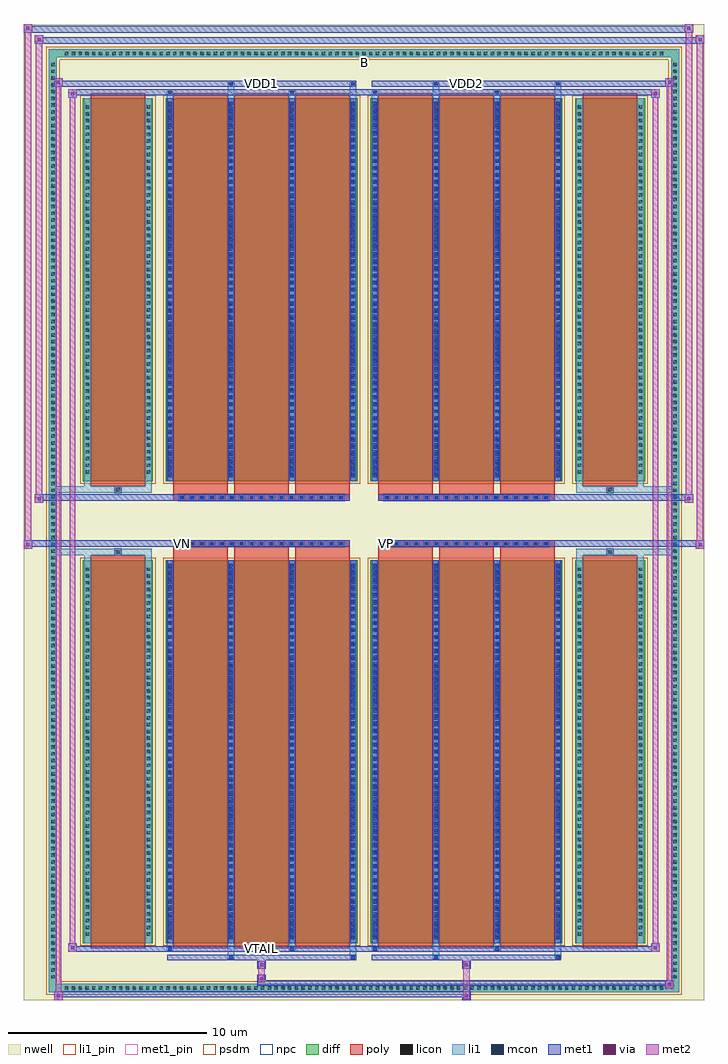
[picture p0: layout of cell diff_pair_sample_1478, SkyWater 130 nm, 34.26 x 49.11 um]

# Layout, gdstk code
import gdstk
lib = gdstk.Library(unit=1e-6, precision=5e-09)
def R(c, l, rs):  # rectangles x0, y0, x1, y1
    for r in rs: c.add(gdstk.rectangle(r[:2], r[2:], *l))
def A(c, l, x, y, w, h, nx, ny, dx, dy):  # array of equal rectangles
    R(c, l, [(x+i*dx, y+j*dy, x+i*dx+w, y+j*dy+h) for i in range(nx) for j in range(ny)])
def P(c, l, *ps):  # polygons
    for p in ps: c.add(gdstk.Polygon(p, *l))
nwell = (64, 20)
diff = (65, 20)
poly = (66, 20)
licon = (66, 44)
li1_pin = (67, 16)
li1 = (67, 20)
mcon = (67, 44)
met1_pin = (68, 16)
met1 = (68, 20)
via = (68, 44)
met2 = (69, 20)
psdm = (94, 20)
npc = (95, 20)

diff_pair_sample_1478 = lib.new_cell('diff_pair_sample_1478')
R(diff_pair_sample_1478, nwell, [(-17.13,-24.12,17.13,24.99), (-14.45,-22.31,-0.01,-0.795), (0.01,-22.31,14.45,-0.795), (-14.45,0.795,-0.01,22.31), (0.01,0.795,14.45,22.31)])
A(diff_pair_sample_1478, diff, -15.165, -23.72, 0.41, 0.41, 89, 2, 0.34, 47.03)
A(diff_pair_sample_1478, diff, -15.86, -23.155, 0.41, 0.41, 1, 136, 0, 0.34)
A(diff_pair_sample_1478, diff, 15.45, -23.155, 0.41, 0.41, 1, 136, 0, 0.34)
R(diff_pair_sample_1478, diff, [(-15.165,-23.72,15.165,-23.31), (-15.86,-23.155,-15.45,23.155), (15.45,-23.155,15.86,23.155), (-14.14,-21.265,-10.62,-1.985), (-9.98,-21.265,-0.32,-1.985), (0.32,-21.265,9.98,-1.985), (10.62,-21.265,14.14,-1.985), (-14.14,1.985,-10.62,21.265), (-9.98,1.985,-0.32,21.265), (0.32,1.985,9.98,21.265), (10.62,1.985,14.14,21.265), (-15.165,23.31,15.165,23.72)])
P(diff_pair_sample_1478, diff, [(15.86,23.72),(-15.86,23.72),(-15.86,-23.31),(-15.45,-23.31),(-15.45,23.31),(15.45,23.31),(15.45,-23.31),(-15.45,-23.31),(-15.86,-23.31),(-15.86,-23.72),(15.86,-23.72)])
A(diff_pair_sample_1478, poly, -9.59, -21.515, 2.74, 19.78, 3, 2, 3.07, 23.25)
A(diff_pair_sample_1478, poly, 0.71, -21.515, 2.74, 19.78, 3, 2, 3.07, 23.25)
A(diff_pair_sample_1478, poly, -9.59, -1.735, 2.74, 0.41, 3, 2, 3.07, 3.06)
A(diff_pair_sample_1478, poly, 0.71, -1.735, 2.74, 0.41, 3, 2, 3.07, 3.06)
A(diff_pair_sample_1478, poly, -9.315, -1.325, 0.33, 0.33, 17, 2, 0.5, 2.32)
A(diff_pair_sample_1478, poly, 0.985, -1.325, 0.33, 0.33, 17, 2, 0.5, 2.32)
R(diff_pair_sample_1478, poly, [(-13.75,-21.515,-11.01,-1.735), (11.01,-21.515,13.75,-1.735), (-12.545,-1.735,-12.215,-1.405), (-12.545,-1.735,-12.215,-1.405), (12.215,-1.735,12.545,-1.405), (12.215,-1.735,12.545,-1.405), (-9.59,-1.325,-0.71,-0.995), (0.71,-1.325,9.59,-0.995), (-9.59,0.995,-0.71,1.325), (0.71,0.995,9.59,1.325), (-12.545,1.405,-12.215,1.735), (-12.545,1.405,-12.215,1.735), (12.215,1.405,12.545,1.735), (12.215,1.405,12.545,1.735), (-13.75,1.735,-11.01,21.515), (11.01,1.735,13.75,21.515)])
A(diff_pair_sample_1478, licon, -15.045, -23.6, 0.17, 0.17, 89, 2, 0.34, 47.03)
A(diff_pair_sample_1478, licon, -15.74, -23.035, 0.17, 0.17, 1, 136, 0, 0.34)
A(diff_pair_sample_1478, licon, 15.57, -23.035, 0.17, 0.17, 1, 136, 0, 0.34)
A(diff_pair_sample_1478, licon, -14, -20.89, 0.17, 0.17, 1, 55, 0, 0.34)
A(diff_pair_sample_1478, licon, -10.93, -20.89, 0.17, 0.17, 1, 55, 0, 0.34)
A(diff_pair_sample_1478, licon, -9.84, -20.89, 0.17, 0.17, 4, 55, 3.07, 0.34)
A(diff_pair_sample_1478, licon, 0.46, -20.89, 0.17, 0.17, 4, 55, 3.07, 0.34)
A(diff_pair_sample_1478, licon, 10.76, -20.89, 0.17, 0.17, 1, 55, 0, 0.34)
A(diff_pair_sample_1478, licon, 13.83, -20.89, 0.17, 0.17, 1, 55, 0, 0.34)
A(diff_pair_sample_1478, licon, -9.235, -1.245, 0.17, 0.17, 17, 2, 0.5, 2.32)
A(diff_pair_sample_1478, licon, 1.065, -1.245, 0.17, 0.17, 17, 2, 0.5, 2.32)
A(diff_pair_sample_1478, licon, -14, 2.36, 0.17, 0.17, 1, 55, 0, 0.34)
A(diff_pair_sample_1478, licon, -10.93, 2.36, 0.17, 0.17, 1, 55, 0, 0.34)
A(diff_pair_sample_1478, licon, -9.84, 2.36, 0.17, 0.17, 4, 55, 3.07, 0.34)
A(diff_pair_sample_1478, licon, 0.46, 2.36, 0.17, 0.17, 4, 55, 3.07, 0.34)
A(diff_pair_sample_1478, licon, 10.76, 2.36, 0.17, 0.17, 1, 55, 0, 0.34)
A(diff_pair_sample_1478, licon, 13.83, 2.36, 0.17, 0.17, 1, 55, 0, 0.34)
R(diff_pair_sample_1478, licon, [(-12.465,-1.655,-12.295,-1.485), (12.295,-1.655,12.465,-1.485), (-12.465,1.485,-12.295,1.655), (12.295,1.485,12.465,1.655)])
R(diff_pair_sample_1478, li1_pin, [(-0.25,22.81,0.25,23.31)])
A(diff_pair_sample_1478, li1, -15.125, -23.68, 0.33, 0.33, 89, 2, 0.34, 47.03)
A(diff_pair_sample_1478, li1, -15.82, -23.115, 0.33, 0.33, 1, 136, 0, 0.34)
A(diff_pair_sample_1478, li1, 15.49, -23.115, 0.33, 0.33, 1, 136, 0, 0.34)
A(diff_pair_sample_1478, li1, -9.92, -21.265, 0.33, 19.28, 4, 2, 3.07, 23.25)
A(diff_pair_sample_1478, li1, 0.38, -21.265, 0.33, 19.28, 4, 2, 3.07, 23.25)
A(diff_pair_sample_1478, li1, -9.84, -21.07, 0.17, 0.17, 4, 53, 3.07, 0.36)
A(diff_pair_sample_1478, li1, -9.84, -21.07, 0.17, 18.89, 4, 2, 3.07, 23.25)
A(diff_pair_sample_1478, li1, 0.46, -21.07, 0.17, 0.17, 4, 53, 3.07, 0.36)
A(diff_pair_sample_1478, li1, 0.46, -21.07, 0.17, 18.89, 4, 2, 3.07, 23.25)
A(diff_pair_sample_1478, li1, -14.08, -20.97, 0.33, 0.33, 1, 55, 0, 0.34)
A(diff_pair_sample_1478, li1, -11.01, -20.97, 0.33, 0.33, 1, 55, 0, 0.34)
A(diff_pair_sample_1478, li1, -9.92, -20.97, 0.33, 0.33, 4, 55, 3.07, 0.34)
A(diff_pair_sample_1478, li1, 0.38, -20.97, 0.33, 0.33, 4, 55, 3.07, 0.34)
A(diff_pair_sample_1478, li1, 10.68, -20.97, 0.33, 0.33, 1, 55, 0, 0.34)
A(diff_pair_sample_1478, li1, 13.75, -20.97, 0.33, 0.33, 1, 55, 0, 0.34)
A(diff_pair_sample_1478, li1, -9.315, -1.325, 0.33, 0.33, 17, 2, 0.5, 2.32)
A(diff_pair_sample_1478, li1, 0.985, -1.325, 0.33, 0.33, 17, 2, 0.5, 2.32)
A(diff_pair_sample_1478, li1, -9.84, 2.18, 0.17, 0.17, 4, 53, 3.07, 0.36)
A(diff_pair_sample_1478, li1, 0.46, 2.18, 0.17, 0.17, 4, 53, 3.07, 0.36)
A(diff_pair_sample_1478, li1, -14.08, 2.28, 0.33, 0.33, 1, 55, 0, 0.34)
A(diff_pair_sample_1478, li1, -11.01, 2.28, 0.33, 0.33, 1, 55, 0, 0.34)
A(diff_pair_sample_1478, li1, -9.92, 2.28, 0.33, 0.33, 4, 55, 3.07, 0.34)
A(diff_pair_sample_1478, li1, 0.38, 2.28, 0.33, 0.33, 4, 55, 3.07, 0.34)
A(diff_pair_sample_1478, li1, 10.68, 2.28, 0.33, 0.33, 1, 55, 0, 0.34)
A(diff_pair_sample_1478, li1, 13.75, 2.28, 0.33, 0.33, 1, 55, 0, 0.34)
R(diff_pair_sample_1478, li1, [(-15.86,-23.72,-15.45,-23.31), (-15.86,-23.72,-15.45,-23.31), (-15.45,-23.72,15.45,-23.31), (15.45,-23.72,15.86,-23.31), (15.45,-23.72,15.86,-23.31), (-15.86,-23.31,-15.45,23.31), (15.45,-23.31,15.86,23.31), (-6.85,-22.07,-6.52,-21.265), (-6.77,-22.07,-6.6,-21.9), (-0.71,-22.07,-0.38,-21.265), (-0.63,-22.07,-0.46,-21.9), (3.45,-22.07,3.78,-21.265), (3.53,-22.07,3.7,-21.9), (9.59,-22.07,9.92,-21.265), (9.67,-22.07,9.84,-21.9), (-9.92,-21.64,-9.59,-21.265), (-9.84,-21.64,-9.67,-21.47), (-3.78,-21.64,-3.45,-21.265), (-3.7,-21.64,-3.53,-21.47), (0.38,-21.64,0.71,-21.265), (0.46,-21.64,0.63,-21.47), (6.52,-21.64,6.85,-21.265), (6.6,-21.64,6.77,-21.47), (-14.08,-21.265,-13.75,-1.985), (-11.01,-21.265,-10.68,-1.985), (10.68,-21.265,11.01,-1.985), (13.75,-21.265,14.08,-1.985), (-14.08,-1.985,-13.75,-1.405), (-11.01,-1.985,-10.68,-1.405), (10.68,-1.985,11.01,-1.405), (13.75,-1.985,14.08,-1.405), (-15.86,-1.735,-12.545,-1.405), (-14.08,-1.735,-12.545,-1.405), (-12.545,-1.735,-12.215,-1.405), (-12.215,-1.735,-10.68,-1.405), (10.68,-1.735,12.215,-1.405), (12.215,-1.735,12.545,-1.405), (12.215,-1.735,15.86,-1.405), (12.545,-1.735,14.08,-1.405), (-15.86,1.405,-12.545,1.735), (-14.08,1.405,-12.545,1.735), (-14.08,1.405,-13.75,1.985), (-12.545,1.405,-12.215,1.735), (-12.215,1.405,-10.68,1.735), (-11.01,1.405,-10.68,1.985), (10.68,1.405,12.215,1.735), (10.68,1.405,11.01,1.985), (12.215,1.405,12.545,1.735), (12.215,1.405,15.86,1.735), (12.545,1.405,14.08,1.735), (13.75,1.405,14.08,1.985), (-14.08,1.985,-13.75,21.265), (-11.01,1.985,-10.68,21.265), (10.68,1.985,11.01,21.265), (13.75,1.985,14.08,21.265), (-9.92,21.265,-9.59,21.64), (-6.85,21.265,-6.52,22.07), (-3.78,21.265,-3.45,21.64), (-0.71,21.265,-0.38,22.07), (0.38,21.265,0.71,21.64), (3.45,21.265,3.78,22.07), (6.52,21.265,6.85,21.64), (9.59,21.265,9.92,22.07), (-9.84,21.47,-9.67,21.64), (-3.7,21.47,-3.53,21.64), (0.46,21.47,0.63,21.64), (6.6,21.47,6.77,21.64), (-6.77,21.9,-6.6,22.07), (-0.63,21.9,-0.46,22.07), (3.53,21.9,3.7,22.07), (9.67,21.9,9.84,22.07), (-15.86,23.31,-15.45,23.72), (-15.86,23.31,-15.45,23.72), (-15.45,23.31,15.45,23.72), (15.45,23.31,15.86,23.72), (15.45,23.31,15.86,23.72)])
A(diff_pair_sample_1478, mcon, -9.84, -21.07, 0.17, 0.17, 4, 53, 3.07, 0.36)
A(diff_pair_sample_1478, mcon, 0.46, -21.07, 0.17, 0.17, 4, 53, 3.07, 0.36)
A(diff_pair_sample_1478, mcon, -9.235, -1.245, 0.17, 0.17, 17, 2, 0.5, 2.32)
A(diff_pair_sample_1478, mcon, 1.065, -1.245, 0.17, 0.17, 17, 2, 0.5, 2.32)
A(diff_pair_sample_1478, mcon, -9.84, 2.18, 0.17, 0.17, 4, 53, 3.07, 0.36)
A(diff_pair_sample_1478, mcon, 0.46, 2.18, 0.17, 0.17, 4, 53, 3.07, 0.36)
R(diff_pair_sample_1478, mcon, [(-6.77,-22.07,-6.6,-21.9), (-0.63,-22.07,-0.46,-21.9), (3.53,-22.07,3.7,-21.9), (9.67,-22.07,9.84,-21.9), (-9.84,-21.64,-9.67,-21.47), (-3.7,-21.64,-3.53,-21.47), (0.46,-21.64,0.63,-21.47), (6.6,-21.64,6.77,-21.47), (-9.84,21.47,-9.67,21.64), (-3.7,21.47,-3.53,21.64), (0.46,21.47,0.63,21.64), (6.6,21.47,6.77,21.64), (-6.77,21.9,-6.6,22.07), (-0.63,21.9,-0.46,22.07), (3.53,21.9,3.7,22.07), (9.67,21.9,9.84,22.07)])
R(diff_pair_sample_1478, met1_pin, [(-5.285,-21.68,-5.015,-21.41), (-9.285,-1.285,-9.015,-1.015), (1.015,-1.285,1.285,-1.015), (-5.285,21.86,-5.015,22.13), (5.015,21.86,5.285,22.13)])
A(diff_pair_sample_1478, met1, -9.9, -21.265, 0.29, 19.28, 4, 2, 3.07, 23.25)
A(diff_pair_sample_1478, met1, 0.4, -21.265, 0.29, 19.28, 4, 2, 3.07, 23.25)
A(diff_pair_sample_1478, met1, -9.9, -21.13, 0.29, 0.29, 4, 53, 3.07, 0.36)
A(diff_pair_sample_1478, met1, 0.4, -21.13, 0.29, 0.29, 4, 53, 3.07, 0.36)
A(diff_pair_sample_1478, met1, -9.295, -1.305, 0.29, 0.29, 17, 2, 0.5, 2.32)
A(diff_pair_sample_1478, met1, 1.005, -1.305, 0.29, 0.29, 17, 2, 0.5, 2.32)
A(diff_pair_sample_1478, met1, -9.9, 2.12, 0.29, 0.29, 4, 53, 3.07, 0.36)
A(diff_pair_sample_1478, met1, 0.4, 2.12, 0.29, 0.29, 4, 53, 3.07, 0.36)
R(diff_pair_sample_1478, met1, [(-15.59,-24.12,-15.16,-23.69), (4.935,-24.12,5.365,-23.69), (-15.59,-23.98,5.365,-23.69), (15.16,-23.55,15.59,-23.12), (-5.365,-23.41,15.59,-23.12), (-5.365,-23.27,-4.935,-22.84), (-5.365,-22.56,-4.935,-22.13), (4.935,-22.56,5.365,-22.13), (-9.9,-22.13,-0.4,-21.84), (-6.83,-22.13,-6.54,-21.84), (-0.69,-22.13,-0.4,-21.84), (0.4,-22.13,9.9,-21.84), (3.47,-22.13,3.76,-21.84), (9.61,-22.13,9.9,-21.84), (-14.88,-21.7,-14.45,-21.27), (-14.88,-21.7,-9.9,-21.41), (-9.9,-21.7,-9.61,-21.41), (-9.9,-21.7,-0.4,-21.41), (-3.76,-21.7,-3.47,-21.41), (-0.4,-21.7,0.4,-21.41), (0.4,-21.7,0.69,-21.41), (0.4,-21.7,9.9,-21.41), (6.54,-21.7,6.83,-21.41), (9.9,-21.7,14.88,-21.41), (14.45,-21.7,14.88,-21.27), (-17.13,-1.425,-16.7,-0.995), (16.7,-1.425,17.13,-0.995), (-17.13,-1.325,-0.71,-0.995), (-9.59,-1.325,-0.71,-0.995), (0.71,-1.325,9.59,-0.995), (0.71,-1.325,17.13,-0.995), (-16.56,0.895,-16.13,1.325), (16.13,0.895,16.56,1.325), (-16.56,0.995,-9.59,1.325), (-9.59,0.995,-0.71,1.325), (0.71,0.995,9.59,1.325), (9.59,0.995,16.56,1.325), (-14.88,21.27,-14.45,21.7), (14.45,21.27,14.88,21.7), (-14.88,21.41,-9.9,21.7), (-9.9,21.41,-9.61,21.7), (-9.9,21.41,-0.4,21.7), (-3.76,21.41,-3.47,21.7), (-0.4,21.41,0.4,21.7), (0.4,21.41,0.69,21.7), (0.4,21.41,9.9,21.7), (6.54,21.41,6.83,21.7), (9.9,21.41,14.88,21.7), (-15.59,21.84,-15.16,22.27), (-15.59,21.84,-9.9,22.13), (-9.9,21.84,-0.4,22.13), (-6.83,21.84,-6.54,22.13), (-0.69,21.84,-0.4,22.13), (0.4,21.84,9.9,22.13), (3.47,21.84,3.76,22.13), (9.61,21.84,9.9,22.13), (9.9,21.84,15.59,22.13), (15.16,21.84,15.59,22.27), (-16.56,23.99,-16.13,24.42), (-16.56,23.99,-14.45,24.32), (-14.45,23.99,14.45,24.32), (14.45,23.99,17.13,24.32), (16.7,23.99,17.13,24.42), (-17.13,24.56,-16.7,24.99), (-17.13,24.56,-14.45,24.89), (-14.45,24.56,14.45,24.89), (14.45,24.56,16.56,24.89), (16.13,24.56,16.56,24.99)])
R(diff_pair_sample_1478, via, [(-15.45,-23.98,-15.3,-23.83), (5.075,-23.98,5.225,-23.83), (15.3,-23.41,15.45,-23.26), (-5.225,-23.13,-5.075,-22.98), (-5.225,-22.42,-5.075,-22.27), (5.075,-22.42,5.225,-22.27), (-14.74,-21.56,-14.59,-21.41), (14.59,-21.56,14.74,-21.41), (-16.99,-1.285,-16.84,-1.135), (16.84,-1.285,16.99,-1.135), (-16.42,1.035,-16.27,1.185), (16.27,1.035,16.42,1.185), (-14.74,21.41,-14.59,21.56), (14.59,21.41,14.74,21.56), (-15.45,21.98,-15.3,22.13), (15.3,21.98,15.45,22.13), (-16.42,24.13,-16.27,24.28), (16.84,24.13,16.99,24.28), (-16.99,24.7,-16.84,24.85), (16.27,24.7,16.42,24.85)])
R(diff_pair_sample_1478, met2, [(-15.59,-24.12,-15.16,-23.69), (-15.52,-24.12,-15.23,22.27), (-15.23,-24.12,-15.16,-23.69), (-15.54,-24.07,-15.21,-23.74), (4.985,-24.07,5.315,-23.74), (4.985,-23.74,5.315,-22.51), (15.16,-23.55,15.59,-23.12), (15.23,-23.55,15.52,22.27), (15.52,-23.55,15.59,-23.12), (15.21,-23.5,15.54,-23.17), (-5.315,-23.22,-4.985,-22.89), (-5.315,-22.89,-4.985,-22.51), (-5.315,-22.51,-4.985,-22.18), (4.985,-22.51,5.315,-22.18), (-14.88,-21.7,-14.45,-21.27), (-14.81,-21.7,-14.52,21.7), (-14.52,-21.7,-14.45,-21.27), (14.45,-21.7,14.88,-21.27), (14.52,-21.7,14.81,21.7), (14.81,-21.7,14.88,-21.27), (-14.83,-21.65,-14.5,-21.32), (14.5,-21.65,14.83,-21.32), (-17.13,-1.425,-16.7,-0.995), (-17.08,-1.425,-16.75,24.99), (-16.75,-1.425,-16.7,-0.995), (16.7,-1.425,17.13,-0.995), (16.75,-1.425,17.08,24.42), (17.08,-1.425,17.13,-0.995), (-17.08,-1.375,-16.75,-1.045), (16.75,-1.375,17.08,-1.045), (-16.56,0.895,-16.13,1.325), (-16.51,0.895,-16.18,24.42), (-16.18,0.895,-16.13,1.325), (16.13,0.895,16.56,1.325), (16.18,0.895,16.51,24.99), (16.51,0.895,16.56,1.325), (-16.51,0.945,-16.18,1.275), (16.18,0.945,16.51,1.275), (-14.88,21.27,-14.45,21.7), (-14.52,21.27,-14.45,21.7), (14.45,21.27,14.88,21.7), (14.81,21.27,14.88,21.7), (-14.83,21.32,-14.5,21.65), (14.5,21.32,14.83,21.65), (-15.59,21.84,-15.16,22.27), (-15.23,21.84,-15.16,22.27), (15.16,21.84,15.59,22.27), (15.52,21.84,15.59,22.27), (-15.54,21.89,-15.21,22.22), (15.21,21.89,15.54,22.22), (-16.56,23.99,-16.13,24.42), (-16.18,23.99,-16.13,24.42), (16.7,23.99,17.13,24.42), (17.08,23.99,17.13,24.42), (-16.51,24.04,-16.18,24.37), (16.75,24.04,17.08,24.37), (-17.13,24.56,-16.7,24.99), (-16.75,24.56,-16.7,24.99), (16.13,24.56,16.56,24.99), (16.51,24.56,16.56,24.99), (-17.08,24.61,-16.75,24.94), (16.18,24.61,16.51,24.94)])
R(diff_pair_sample_1478, psdm, [(-14.27,-21.395,-10.49,-1.855), (-10.11,-21.395,-0.19,-1.855), (0.19,-21.395,10.11,-1.855), (10.49,-21.395,14.27,-1.855), (-14.27,1.855,-10.49,21.395), (-10.11,1.855,-0.19,21.395), (0.19,1.855,10.11,21.395), (10.49,1.855,14.27,21.395)])
P(diff_pair_sample_1478, psdm, [(15.99,23.85),(-15.99,23.85),(-15.99,-23.18),(-15.32,-23.18),(-15.32,23.18),(15.32,23.18),(15.32,-23.18),(-15.32,-23.18),(-15.99,-23.18),(-15.99,-23.85),(15.99,-23.85)])
A(diff_pair_sample_1478, npc, -9.335, -1.345, 0.37, 0.37, 17, 2, 0.5, 2.32)
A(diff_pair_sample_1478, npc, 0.965, -1.345, 0.37, 0.37, 17, 2, 0.5, 2.32)
R(diff_pair_sample_1478, npc, [(-12.565,-1.755,-12.195,-1.385), (12.195,-1.755,12.565,-1.385), (-9.335,-1.345,-8.465,-0.975), (-9.335,-1.345,-8.465,-0.975), (-8.835,-1.345,-7.965,-0.975), (-8.835,-1.345,-7.965,-0.975), (-8.335,-1.345,-7.465,-0.975), (-8.335,-1.345,-7.465,-0.975), (-7.835,-1.345,-6.965,-0.975), (-7.835,-1.345,-6.965,-0.975), (-7.335,-1.345,-6.465,-0.975), (-7.335,-1.345,-6.465,-0.975), (-6.835,-1.345,-5.965,-0.975), (-6.835,-1.345,-5.965,-0.975), (-6.335,-1.345,-5.465,-0.975), (-6.335,-1.345,-5.465,-0.975), (-5.835,-1.345,-4.965,-0.975), (-5.835,-1.345,-4.965,-0.975), (-5.335,-1.345,-4.465,-0.975), (-5.335,-1.345,-4.465,-0.975), (-4.835,-1.345,-3.965,-0.975), (-4.835,-1.345,-3.965,-0.975), (-4.335,-1.345,-3.465,-0.975), (-4.335,-1.345,-3.465,-0.975), (-3.835,-1.345,-2.965,-0.975), (-3.835,-1.345,-2.965,-0.975), (-3.335,-1.345,-2.465,-0.975), (-3.335,-1.345,-2.465,-0.975), (-2.835,-1.345,-1.965,-0.975), (-2.835,-1.345,-1.965,-0.975), (-2.335,-1.345,-1.465,-0.975), (-2.335,-1.345,-1.465,-0.975), (-1.835,-1.345,-0.965,-0.975), (-1.835,-1.345,-0.965,-0.975), (0.965,-1.345,1.835,-0.975), (0.965,-1.345,1.835,-0.975), (1.465,-1.345,2.335,-0.975), (1.465,-1.345,2.335,-0.975), (1.965,-1.345,2.835,-0.975), (1.965,-1.345,2.835,-0.975), (2.465,-1.345,3.335,-0.975), (2.465,-1.345,3.335,-0.975), (2.965,-1.345,3.835,-0.975), (2.965,-1.345,3.835,-0.975), (3.465,-1.345,4.335,-0.975), (3.465,-1.345,4.335,-0.975), (3.965,-1.345,4.835,-0.975), (3.965,-1.345,4.835,-0.975), (4.465,-1.345,5.335,-0.975), (4.465,-1.345,5.335,-0.975), (4.965,-1.345,5.835,-0.975), (4.965,-1.345,5.835,-0.975), (5.465,-1.345,6.335,-0.975), (5.465,-1.345,6.335,-0.975), (5.965,-1.345,6.835,-0.975), (5.965,-1.345,6.835,-0.975), (6.465,-1.345,7.335,-0.975), (6.465,-1.345,7.335,-0.975), (6.965,-1.345,7.835,-0.975), (6.965,-1.345,7.835,-0.975), (7.465,-1.345,8.335,-0.975), (7.465,-1.345,8.335,-0.975), (7.965,-1.345,8.835,-0.975), (7.965,-1.345,8.835,-0.975), (8.465,-1.345,9.335,-0.975), (8.465,-1.345,9.335,-0.975), (-9.335,0.975,-8.465,1.345), (-9.335,0.975,-8.465,1.345), (-8.835,0.975,-7.965,1.345), (-8.835,0.975,-7.965,1.345), (-8.335,0.975,-7.465,1.345), (-8.335,0.975,-7.465,1.345), (-7.835,0.975,-6.965,1.345), (-7.835,0.975,-6.965,1.345), (-7.335,0.975,-6.465,1.345), (-7.335,0.975,-6.465,1.345), (-6.835,0.975,-5.965,1.345), (-6.835,0.975,-5.965,1.345), (-6.335,0.975,-5.465,1.345), (-6.335,0.975,-5.465,1.345), (-5.835,0.975,-4.965,1.345), (-5.835,0.975,-4.965,1.345), (-5.335,0.975,-4.465,1.345), (-5.335,0.975,-4.465,1.345), (-4.835,0.975,-3.965,1.345), (-4.835,0.975,-3.965,1.345), (-4.335,0.975,-3.465,1.345), (-4.335,0.975,-3.465,1.345), (-3.835,0.975,-2.965,1.345), (-3.835,0.975,-2.965,1.345), (-3.335,0.975,-2.465,1.345), (-3.335,0.975,-2.465,1.345), (-2.835,0.975,-1.965,1.345), (-2.835,0.975,-1.965,1.345), (-2.335,0.975,-1.465,1.345), (-2.335,0.975,-1.465,1.345), (-1.835,0.975,-0.965,1.345), (-1.835,0.975,-0.965,1.345), (0.965,0.975,1.835,1.345), (0.965,0.975,1.835,1.345), (1.465,0.975,2.335,1.345), (1.465,0.975,2.335,1.345), (1.965,0.975,2.835,1.345), (1.965,0.975,2.835,1.345), (2.465,0.975,3.335,1.345), (2.465,0.975,3.335,1.345), (2.965,0.975,3.835,1.345), (2.965,0.975,3.835,1.345), (3.465,0.975,4.335,1.345), (3.465,0.975,4.335,1.345), (3.965,0.975,4.835,1.345), (3.965,0.975,4.835,1.345), (4.465,0.975,5.335,1.345), (4.465,0.975,5.335,1.345), (4.965,0.975,5.835,1.345), (4.965,0.975,5.835,1.345), (5.465,0.975,6.335,1.345), (5.465,0.975,6.335,1.345), (5.965,0.975,6.835,1.345), (5.965,0.975,6.835,1.345), (6.465,0.975,7.335,1.345), (6.465,0.975,7.335,1.345), (6.965,0.975,7.835,1.345), (6.965,0.975,7.835,1.345), (7.465,0.975,8.335,1.345), (7.465,0.975,8.335,1.345), (7.965,0.975,8.835,1.345), (7.965,0.975,8.835,1.345), (8.465,0.975,9.335,1.345), (8.465,0.975,9.335,1.345), (-12.565,1.385,-12.195,1.755), (12.195,1.385,12.565,1.755)])
diff_pair_sample_1478.add(gdstk.Label('VTAIL', (-5.15,-21.545), layer=68, texttype=5))
diff_pair_sample_1478.add(gdstk.Label('VN', (-9.15,-1.15), layer=68, texttype=5))
diff_pair_sample_1478.add(gdstk.Label('VP', (1.15,-1.15), layer=68, texttype=5))
diff_pair_sample_1478.add(gdstk.Label('B', (0,23.06), layer=67, texttype=5))
diff_pair_sample_1478.add(gdstk.Label('VDD2', (5.15,21.995), layer=68, texttype=5))
diff_pair_sample_1478.add(gdstk.Label('VDD1', (-5.15,21.995), layer=68, texttype=5))

lib.write_gds('diff_pair_sample_1478.gds')
